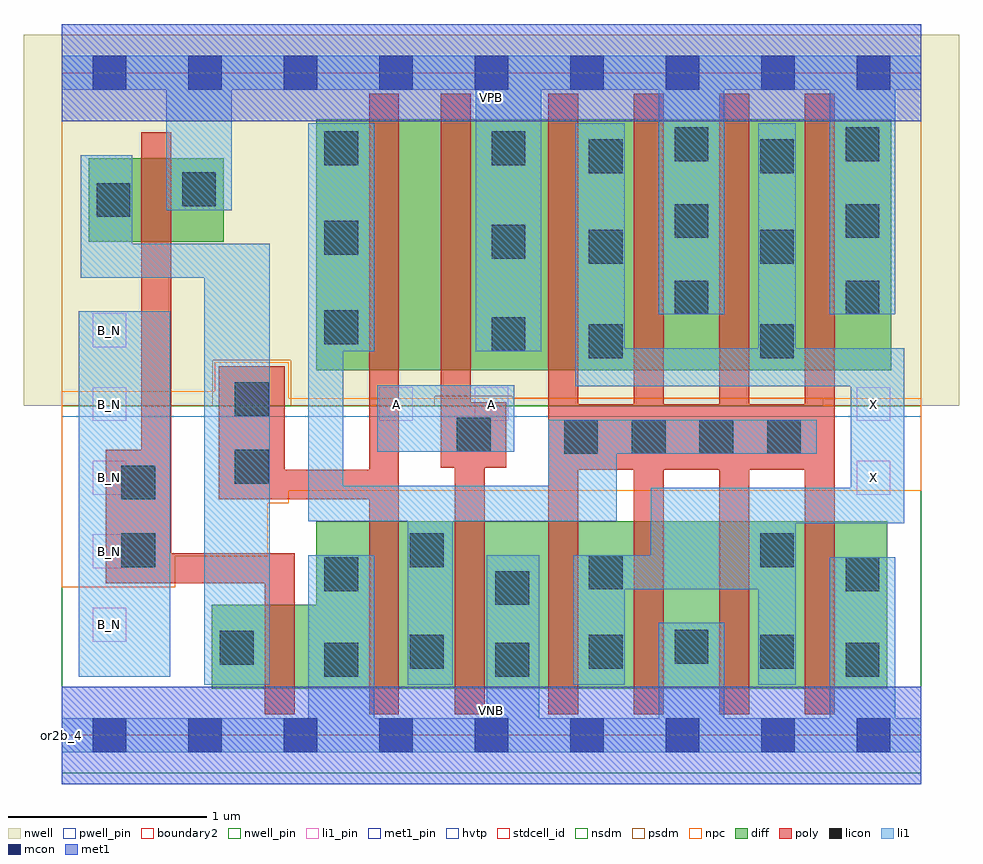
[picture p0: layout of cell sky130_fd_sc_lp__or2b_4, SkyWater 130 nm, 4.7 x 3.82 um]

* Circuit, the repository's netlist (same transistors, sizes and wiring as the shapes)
* Copyright 2020 The SkyWater PDK Authors
*
* Licensed under the Apache License, Version 2.0 (the "License");
* you may not use this file except in compliance with the License.
* You may obtain a copy of the License at
*
*     https://www.apache.org/licenses/LICENSE-2.0
*
* Unless required by applicable law or agreed to in writing, software
* distributed under the License is distributed on an "AS IS" BASIS,
* WITHOUT WARRANTIES OR CONDITIONS OF ANY KIND, either express or implied.
* See the License for the specific language governing permissions and
* limitations under the License.
*
* SPDX-License-Identifier: Apache-2.0

.SUBCKT sky130_fd_sc_lp__or2b_4 A B_N VGND VNB VPB VPWR X
*.PININFO A:I B_N:I VGND:I VNB:I VPB:I VPWR:I X:O
MMP0 VPWR A sndPA VPB sky130_fd_pr__pfet_01v8_hvt m=1 w=1.26U l=0.15U mult=1 sa=0.265
+ sb=0.265 sd=0.28 area=0.063 perim=1.14
MMP1 sndPA B y VPB sky130_fd_pr__pfet_01v8_hvt m=1 w=1.26U l=0.15U mult=1 sa=0.265
+ sb=0.265 sd=0.28 area=0.063 perim=1.14
MMIP1 B B_N VPWR VPB sky130_fd_pr__pfet_01v8_hvt m=1 w=0.42U l=0.15U mult=1 sa=0.265
+ sb=0.265 sd=0.28 area=0.063 perim=1.14
MMIP2 X y VPWR VPB sky130_fd_pr__pfet_01v8_hvt m=4 w=1.26U l=0.15U mult=1 sa=0.265
+ sb=0.265 sd=0.28 area=0.063 perim=1.14
MMN0 y A VGND VNB sky130_fd_pr__nfet_01v8 m=1 w=0.84U l=0.15U mult=1 sa=0.265 sb=0.265
+ sd=0.28 area=0.063 perim=1.14
MMN1 y B VGND VNB sky130_fd_pr__nfet_01v8 m=1 w=0.84U l=0.15U mult=1 sa=0.265 sb=0.265
+ sd=0.28 area=0.063 perim=1.14
MMIN1 B B_N VGND VNB sky130_fd_pr__nfet_01v8 m=1 w=0.42U l=0.15U mult=1 sa=0.265
+ sb=0.265 sd=0.28 area=0.063 perim=1.14
MMIN2 X y VGND VNB sky130_fd_pr__nfet_01v8 m=4 w=0.84U l=0.15U mult=1 sa=0.265
+ sb=0.265 sd=0.28 area=0.063 perim=1.14
.ENDS sky130_fd_sc_lp__or2b_4

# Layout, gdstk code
import gdstk
lib = gdstk.Library(unit=1e-6, precision=1e-09)
def R(c, l, rs):  # rectangles x0, y0, x1, y1
    for r in rs: c.add(gdstk.rectangle(r[:2], r[2:], *l))
def A(c, l, x, y, w, h, nx, ny, dx, dy):  # array of equal rectangles
    R(c, l, [(x+i*dx, y+j*dy, x+i*dx+w, y+j*dy+h) for i in range(nx) for j in range(ny)])
def P(c, l, *ps):  # polygons
    for p in ps: c.add(gdstk.Polygon(p, *l))
nwell_pin = (64, 16)
nwell = (64, 20)
diff = (65, 20)
poly = (66, 20)
licon = (66, 44)
li1_pin = (67, 16)
li1 = (67, 20)
mcon = (67, 44)
met1_pin = (68, 16)
met1 = (68, 20)
hvtp = (78, 44)
stdcell_id = (81, 4)
nsdm = (93, 44)
psdm = (94, 20)
npc = (95, 20)
pwell_pin = (122, 16)
boundary2 = (236, 0)

sky130_fd_sc_lp__or2b_4 = lib.new_cell('sky130_fd_sc_lp__or2b_4')
R(sky130_fd_sc_lp__or2b_4, nwell_pin, [(0,3.085,4.32,3.33)])
R(sky130_fd_sc_lp__or2b_4, nwell, [(-0.19,1.655,4.51,3.52)])
R(sky130_fd_sc_lp__or2b_4, diff, [(1.28,1.835,4.17,3.095), (0.135,2.48,0.815,2.9)])
P(sky130_fd_sc_lp__or2b_4, diff, [(4.15,1.075),(1.28,1.075),(1.28,0.655),(0.755,0.655),(0.755,0.235),(4.15,0.235)])
P(sky130_fd_sc_lp__or2b_4, poly, [(1.17,0.915),(0.55,0.915),(0.55,3.03),(0.4,3.03),(0.4,1.435),(0.22,1.435),(0.22,0.765),(1.02,0.765),(1.02,0.105),(1.17,0.105)],
  [(1.695,3.225),(1.545,3.225),(1.545,1.335),(1.12,1.335),(1.12,1.855),(0.79,1.855),(0.79,1.185),(1.545,1.185),(1.545,0.105),(1.695,0.105)],
  [(2.235,1.675),(2.055,1.675),(2.055,3.225),(1.905,3.225),(1.905,1.345),(1.975,1.345),(1.975,0.105),(2.125,0.105),(2.125,1.345),(2.235,1.345)],
  [(3.885,3.225),(3.735,3.225),(3.735,1.665),(3.455,1.665),(3.455,3.225),(3.305,3.225),(3.305,1.665),(3.025,1.665),(3.025,3.225),(2.875,3.225),(2.875,1.665),(2.595,1.665),(2.595,3.225),(2.445,3.225),(2.445,0.105),(2.595,0.105),(2.595,1.335),(2.875,1.335),(2.875,0.105),(3.025,0.105),(3.025,1.335),(3.305,1.335),(3.305,0.105),(3.455,0.105),(3.455,1.335),(3.735,1.335),(3.735,0.105),(3.885,0.105)])
A(sky130_fd_sc_lp__or2b_4, licon, 2.525, 1.415, 0.17, 0.17, 4, 1, 0.34, 0)
A(sky130_fd_sc_lp__or2b_4, licon, 1.32, 1.965, 0.17, 0.17, 1, 3, 0, 0.45)
A(sky130_fd_sc_lp__or2b_4, licon, 3.08, 2.115, 0.17, 0.17, 1, 3, 0, 0.385)
A(sky130_fd_sc_lp__or2b_4, licon, 3.94, 2.115, 0.17, 0.17, 1, 3, 0, 0.385)
R(sky130_fd_sc_lp__or2b_4, licon, [(1.32,0.295,1.49,0.465), (2.18,0.295,2.35,0.465), (3.94,0.295,4.11,0.465), (1.75,0.335,1.92,0.505), (2.65,0.335,2.82,0.505), (3.51,0.335,3.68,0.505), (0.795,0.355,0.965,0.525), (3.08,0.36,3.25,0.53), (2.18,0.655,2.35,0.825), (1.32,0.725,1.49,0.895), (3.94,0.725,4.11,0.895), (2.65,0.735,2.82,0.905), (0.3,0.845,0.47,1.015), (1.75,0.845,1.92,1.015), (3.51,0.845,3.68,1.015), (0.3,1.185,0.47,1.355), (0.87,1.265,1.04,1.435), (1.985,1.425,2.155,1.595), (0.87,1.605,1.04,1.775), (2.65,1.895,2.82,2.065), (3.51,1.895,3.68,2.065), (2.16,1.93,2.33,2.1), (2.65,2.37,2.82,2.54), (3.51,2.37,3.68,2.54), (2.16,2.395,2.33,2.565), (0.175,2.605,0.345,2.775), (0.605,2.66,0.775,2.83), (2.65,2.825,2.82,2.995), (3.51,2.825,3.68,2.995), (2.16,2.865,2.33,3.035)])
A(sky130_fd_sc_lp__or2b_4, li1_pin, 0.155, 0.47, 0.17, 0.17, 1, 5, 0, 0.37)
R(sky130_fd_sc_lp__or2b_4, li1_pin, [(3.995,1.21,4.165,1.38), (1.595,1.58,1.765,1.75), (2.075,1.58,2.245,1.75), (3.995,1.58,4.165,1.75)])
R(sky130_fd_sc_lp__or2b_4, li1, [(0.085,0.295,0.545,2.13), (1.585,1.425,2.275,1.76)])
P(sky130_fd_sc_lp__or2b_4, li1, [(3.86,2.115),(3.86,3.245),(3.33,3.245),(3.33,2.115),(3,2.115),(3,3.245),(2.41,3.245),(2.41,1.93),(2.08,1.93),(2.08,3.245),(0.855,3.245),(0.855,2.64),(0.525,2.64),(0.525,3.245),(0,3.245),(0,3.415),(4.32,3.415),(4.32,3.245),(4.19,3.245),(4.19,2.115)],
  [(3,0.085),(3,0.565),(3.33,0.565),(3.33,0.085),(3.86,0.085),(3.86,0.895),(4.19,0.895),(4.19,0.085),(4.32,0.085),(4.32,-0.085),(0,-0.085),(0,0.085),(1.24,0.085),(1.24,0.905),(1.57,0.905),(1.57,0.085),(2.135,0.085),(2.135,0.905),(2.4,0.905),(2.4,0.085)],
  [(2.445,1.255),(2.445,1.585),(3.795,1.585),(3.795,1.415),(2.79,1.415),(2.79,1.075),(1.965,1.075),(1.965,0.255),(1.74,0.255),(1.74,1.075),(1.24,1.075),(1.24,3.075),(1.57,3.075),(1.57,1.93),(1.415,1.93),(1.415,1.255)],
  [(1.045,0.255),(0.715,0.255),(0.715,2.3),(0.095,2.3),(0.095,2.915),(0.355,2.915),(0.355,2.47),(1.045,2.47)],
  [(4.235,1.945),(3.69,1.945),(3.69,3.075),(3.5,3.075),(3.5,1.945),(2.83,1.945),(2.83,3.075),(2.58,3.075),(2.58,1.755),(3.965,1.755),(3.965,1.245),(2.96,1.245),(2.96,0.905),(2.57,0.905),(2.57,0.255),(2.83,0.255),(2.83,0.735),(3.5,0.735),(3.5,0.255),(3.69,0.255),(3.69,1.065),(4.235,1.065)])
A(sky130_fd_sc_lp__or2b_4, mcon, 0.155, -0.085, 0.17, 0.17, 9, 2, 0.48, 3.33)
R(sky130_fd_sc_lp__or2b_4, met1_pin, [(0,0,4.32,0.245), (0,3.085,4.32,3.33)])
R(sky130_fd_sc_lp__or2b_4, met1, [(0,-0.245,4.32,0.245), (0,3.085,4.32,3.575)])
R(sky130_fd_sc_lp__or2b_4, hvtp, [(0,1.6,4.32,3.33)])
R(sky130_fd_sc_lp__or2b_4, stdcell_id, [(0,0,4.32,3.33)])
R(sky130_fd_sc_lp__or2b_4, nsdm, [(0,-0.19,4.32,1.655)])
P(sky130_fd_sc_lp__or2b_4, psdm, [(4.32,3.52),(0,3.52),(0,1.655),(0.76,1.655),(0.76,1.885),(1.15,1.885),(1.15,1.655),(1.875,1.655),(1.875,1.705),(2.265,1.705),(2.265,1.695),(3.825,1.695),(3.825,1.655),(4.32,1.655)])
P(sky130_fd_sc_lp__or2b_4, npc, [(4.32,1.695),(1.14,1.695),(1.14,1.875),(0.77,1.875),(0.77,1.73),(0,1.73),(0,0.745),(0.57,0.745),(0.57,0.9),(1.035,0.9),(1.035,1.165),(1.14,1.165),(1.14,1.23),(4.32,1.23)])
R(sky130_fd_sc_lp__or2b_4, pwell_pin, [(0,0,4.32,0.245)])
R(sky130_fd_sc_lp__or2b_4, boundary2, [(0,0,4.32,3.33)])
sky130_fd_sc_lp__or2b_4.add(gdstk.Label('VNB', (2.16,0.123), layer=64, texttype=59))
sky130_fd_sc_lp__or2b_4.add(gdstk.Label('VPB', (2.16,3.208), layer=64, texttype=5))
sky130_fd_sc_lp__or2b_4.add(gdstk.Label('or2b_4', (0,0), layer=83, texttype=44))
sky130_fd_sc_lp__or2b_4.add(gdstk.Label('VPWR', (2.16,3.208), layer=68, texttype=5))
sky130_fd_sc_lp__or2b_4.add(gdstk.Label('VGND', (2.16,0.123), layer=68, texttype=5))
sky130_fd_sc_lp__or2b_4.add(gdstk.Label('A', (1.68,1.665), layer=67, texttype=5))
sky130_fd_sc_lp__or2b_4.add(gdstk.Label('A', (2.16,1.665), layer=67, texttype=5))
sky130_fd_sc_lp__or2b_4.add(gdstk.Label('B_N', (0.24,0.555), layer=67, texttype=5))
sky130_fd_sc_lp__or2b_4.add(gdstk.Label('B_N', (0.24,0.925), layer=67, texttype=5))
sky130_fd_sc_lp__or2b_4.add(gdstk.Label('B_N', (0.24,1.295), layer=67, texttype=5))
sky130_fd_sc_lp__or2b_4.add(gdstk.Label('B_N', (0.24,1.665), layer=67, texttype=5))
sky130_fd_sc_lp__or2b_4.add(gdstk.Label('B_N', (0.24,2.035), layer=67, texttype=5))
sky130_fd_sc_lp__or2b_4.add(gdstk.Label('X', (4.08,1.295), layer=67, texttype=5))
sky130_fd_sc_lp__or2b_4.add(gdstk.Label('X', (4.08,1.665), layer=67, texttype=5))

lib.write_gds('sky130_fd_sc_lp__or2b_4.gds')
